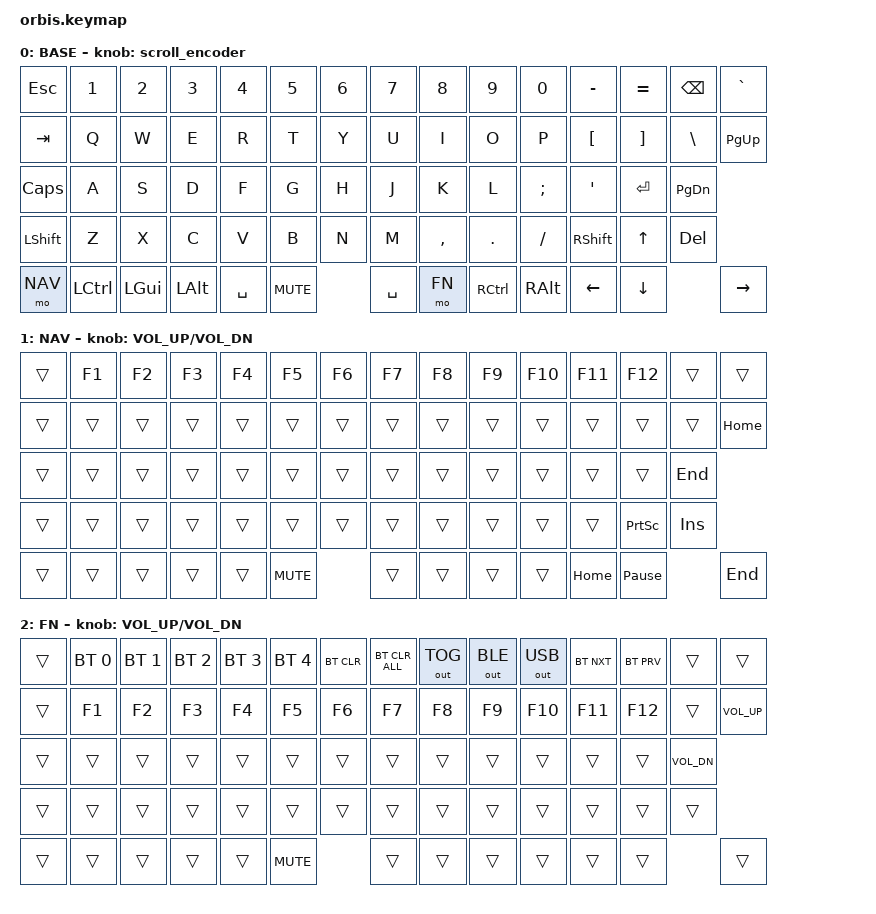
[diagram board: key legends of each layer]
#include <behaviors.dtsi>
#include <dt-bindings/zmk/keys.h>
#include <dt-bindings/zmk/bt.h>
#include <dt-bindings/zmk/pointing.h>
#include <dt-bindings/zmk/ext_power.h>
#include <dt-bindings/zmk/outputs.h>

#define BASE 0
#define NAV 1
#define FN 2

/ {
    /* 默认层：编码器滚屏。顺时针=向上滚，逆时针=向下滚 */
    behaviors {
        scroll_encoder: scroll_encoder {
            compatible = "zmk,behavior-sensor-rotate";
            #sensor-binding-cells = <0>;
            bindings = <&msc SCRL_UP>, <&msc SCRL_DOWN>;
        };
    };

    keymap {
        compatible = "zmk,keymap";

        /* ---------- 第 0 层：BASE ---------- */
        base_layer {
            display-name = "BASE";
            bindings = <
&kp ESC &kp N1 &kp N2 &kp N3 &kp N4 &kp N5 &kp N6 &kp N7 &kp N8 &kp N9 &kp N0 &kp MINUS &kp EQUAL &kp BSPC &kp GRAVE
&kp TAB &kp Q &kp W &kp E &kp R &kp T &kp Y &kp U &kp I &kp O &kp P &kp LBKT &kp RBKT &kp BSLH &kp PG_UP
&kp CLCK &kp A &kp S &kp D &kp F &kp G &kp H &kp J &kp K &kp L &kp SEMI &kp SQT &kp RET &kp PG_DN
&kp LSHFT &kp Z &kp X &kp C &kp V &kp B &kp N &kp M &kp COMMA &kp DOT &kp FSLH &kp RSHFT &kp UP &kp DEL
&mo NAV &kp LCTRL &kp LGUI &kp LALT &kp SPACE &kp C_MUTE &kp SPACE &mo FN &kp RCTRL &kp RALT &kp LEFT &kp DOWN &kp RIGHT
            >;

            sensor-bindings = <&scroll_encoder>;
        };

        /* ---------- 第 1 层：NAV ---------- */
        nav_layer {
            display-name = "NAV";
            bindings = <
&trans &kp F1 &kp F2 &kp F3 &kp F4 &kp F5 &kp F6 &kp F7 &kp F8 &kp F9 &kp F10 &kp F11 &kp F12 &trans &trans
&trans &trans &trans &trans &trans &trans &trans &trans &trans &trans &trans &trans &trans &trans &kp HOME
&trans &trans &trans &trans &trans &trans &trans &trans &trans &trans &trans &trans &trans &kp END
&trans &trans &trans &trans &trans &trans &trans &trans &trans &trans &trans &trans &kp PSCRN &kp INS
&trans &trans &trans &trans &trans &kp C_MUTE &trans &trans &trans &trans &kp HOME &kp PAUSE_BREAK &kp END
            >;

            sensor-bindings = <&inc_dec_kp C_VOL_UP C_VOL_DN>;
        };

        /* ---------- 第 2 层：FN ---------- */
        fn_layer {
            display-name = "FN";
            bindings = <
&trans &bt BT_SEL 0 &bt BT_SEL 1 &bt BT_SEL 2 &bt BT_SEL 3 &bt BT_SEL 4 &bt BT_CLR &bt BT_CLR_ALL &out OUT_TOG &out OUT_BLE &out OUT_USB &bt BT_NXT &bt BT_PRV &trans &trans
&trans &kp F1 &kp F2 &kp F3 &kp F4 &kp F5 &kp F6 &kp F7 &kp F8 &kp F9 &kp F10 &kp F11 &kp F12  &trans &kp C_VOL_UP
&trans &trans &trans &trans &trans &trans &trans &trans &trans &trans &trans &trans &trans &kp C_VOL_DN
&trans &trans &trans &trans &trans &trans &trans &trans &trans &trans &trans &trans &trans &trans
&trans &trans &trans &trans &trans &kp C_MUTE &trans &trans &trans &trans &trans &trans &trans
            >;

            sensor-bindings = <&inc_dec_kp C_VOL_UP C_VOL_DN>;
        };
    };
};

